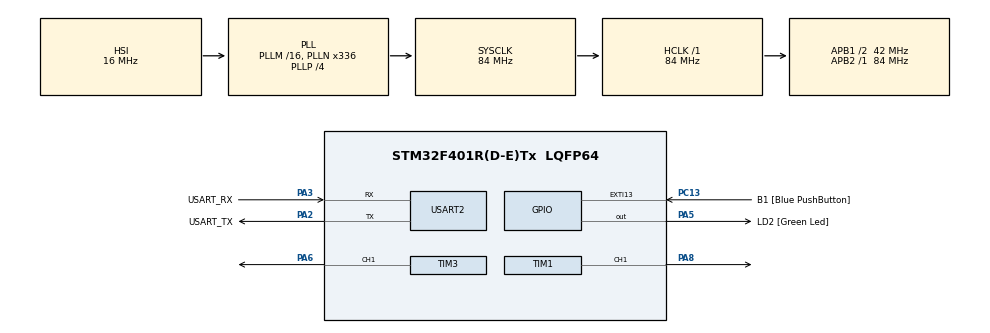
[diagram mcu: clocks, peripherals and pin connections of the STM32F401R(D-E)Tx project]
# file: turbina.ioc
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Mcu.Family=STM32F4
Mcu.Name=STM32F401R(D-E)Tx
Mcu.Package=LQFP64
NVIC.PriorityGroup=NVIC_PRIORITYGROUP_0
NVIC.TIM3_IRQn=true\:0\:0\:false\:false\:true\:true\:true\:true
PA13.GPIO_Label=TMS
PA13.Mode=Serial_Wire
PA13.Signal=SYS_JTMS-SWDIO
PA14.GPIO_Label=TCK
PA14.Mode=Serial_Wire
PA14.Signal=SYS_JTCK-SWCLK
PA2.GPIO_Label=USART_TX
PA2.GPIO_Mode=GPIO_MODE_AF_PP
PA2.GPIO_PuPd=GPIO_NOPULL
PA2.GPIO_Speed=GPIO_SPEED_FREQ_LOW
PA2.Mode=Asynchronous
PA2.Signal=USART2_TX
PA3.GPIO_Label=USART_RX
PA3.GPIO_Mode=GPIO_MODE_AF_PP
PA3.GPIO_PuPd=GPIO_NOPULL
PA3.GPIO_Speed=GPIO_SPEED_FREQ_LOW
PA3.Mode=Asynchronous
PA3.Signal=USART2_RX
PA5.GPIO_Label=LD2 [Green Led]
PA5.GPIO_Mode=GPIO_MODE_OUTPUT_PP
PA5.GPIO_PuPd=GPIO_NOPULL
PA5.GPIO_Speed=GPIO_SPEED_FREQ_LOW
PA5.Signal=GPIO_Output
PA6.Signal=S_TIM3_CH1
PA8.Signal=S_TIM1_CH1
PB3.GPIO_Label=SWO
PB3.Signal=SYS_JTDO-SWO
PC13-ANTI_TAMP.GPIO_Label=B1 [Blue PushButton]
PC13-ANTI_TAMP.GPIO_ModeDefaultEXTI=GPIO_MODE_IT_FALLING
PC13-ANTI_TAMP.GPIO_PuPd=GPIO_NOPULL
PC13-ANTI_TAMP.Signal=GPXTI13
PC14-OSC32_IN.Mode=LSE-External-Oscillator
PC14-OSC32_IN.Signal=RCC_OSC32_IN
PC15-OSC32_OUT.Mode=LSE-External-Oscillator
PC15-OSC32_OUT.Signal=RCC_OSC32_OUT
PH0\ -\ OSC_IN.Mode=HSE-External-Clock-Source
PH0\ -\ OSC_IN.Signal=RCC_OSC_IN
PH1\ -\ OSC_OUT.Mode=HSE-External-Clock-Source
PH1\ -\ OSC_OUT.Signal=RCC_OSC_OUT
ProjectManager.HeapSize=0x200
ProjectManager.StackSize=0x400
ProjectManager.TargetToolchain=STM32CubeIDE
RCC.48MHZClocksFreq_Value=48000000
RCC.AHBFreq_Value=84000000
RCC.APB1CLKDivider=RCC_HCLK_DIV2
RCC.APB1Freq_Value=42000000
RCC.APB1TimFreq_Value=84000000
RCC.APB2Freq_Value=84000000
RCC.APB2TimFreq_Value=84000000
RCC.CortexFreq_Value=84000000
RCC.HCLKFreq_Value=84000000
RCC.HSE_VALUE=8000000
RCC.HSI_VALUE=16000000
RCC.PLLN=336
RCC.PLLP=RCC_PLLP_DIV4
RCC.PLLQ=7
RCC.SYSCLKFreq_VALUE=84000000
RCC.SYSCLKSource=RCC_SYSCLKSOURCE_PLLCLK
RCC.VCOOutputFreq_Value=336000000
SH.S_TIM1_CH1.0=TIM1_CH1,PWM Generation1 CH1
SH.S_TIM3_CH1.0=TIM3_CH1,Output Compare1 CH1
TIM1.Channel-PWM\ Generation1\ CH1=TIM_CHANNEL_1
TIM1.Period=1000-1
TIM1.Prescaler=4-1
TIM3.Channel-Output\ Compare1\ CH1=TIM_CHANNEL_1
TIM3.Period=26259-1
TIM3.Prescaler=64-1
USART2.VirtualMode=VM_ASYNC
VP_TIM1_VS_ClockSourceINT.Mode=Internal
VP_TIM3_VS_ClockSourceINT.Mode=Internal
board=NUCLEO-F401RE

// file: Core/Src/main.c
/* USER CODE BEGIN Header */
/**
  ******************************************************************************
  * @file           : main.c
  * @brief          : Main program body
  ******************************************************************************
  * @attention
  *
  * Copyright (c) 2023 STMicroelectronics.
  * All rights reserved.
  *
  * This software is licensed under terms that can be found in the LICENSE file
  * in the root directory of this software component.
  * If no LICENSE file comes with this software, it is provided AS-IS.
  *
  ******************************************************************************
  */
/* USER CODE END Header */
#include "main.h"

TIM_HandleTypeDef htim1;
TIM_HandleTypeDef htim3;

UART_HandleTypeDef huart2;

void SystemClock_Config(void);
static void MX_GPIO_Init(void);
static void MX_USART2_UART_Init(void);
static void MX_TIM1_Init(void);
static void MX_TIM3_Init(void);

/* USER CODE BEGIN 0 */
motor_str motorA;

//void HAL_TIM_PWM_PulseFinishedCallback(TIM_HandleTypeDef *htim){
//	HAL_TIM_PWM_Stop_DMA(htim, TIM_CHANNEL_1);
//}

//void HAL_TIM_PeriodElapsedCallback(TIM_HandleTypeDef *htim) {
//	if (htim == &htim10){
//		__HAL_TIM_SET_COMPARE(&htim10, TIM_CHANNEL_1, )
//	}
//}

/* USER CODE END 0 */

int main(void)
{

  /* MCU Configuration--------------------------------------------------------*/

  /* Reset of all peripherals, Initializes the Flash interface and the Systick. */
  HAL_Init();

  /* Configure the system clock */
  SystemClock_Config();

  /* Initialize all configured peripherals */
  MX_GPIO_Init();
  MX_USART2_UART_Init();
  MX_TIM1_Init();
  MX_TIM3_Init();
  /* USER CODE BEGIN 2 */
  HAL_TIM_PWM_Start(&htim1, TIM_CHANNEL_1);
  HAL_TIM_Base_Start_IT(&htim3);

  motor_str_init(&motorA, &htim3);
  pid_init(&(motorA.pid_controller), MOTOR_A_Kp, MOTOR_A_Ki, MOTOR_A_Kd, MOTOR_A_ANTI_WINDUP);

    int i = 0;
    uint32_t time_tick = HAL_GetTick();
    uint32_t max_time = 5000;

  /* USER CODE END 2 */

  /* Infinite loop */
  while (1)
  {

    /* USER CODE BEGIN 3 */
	  if((HAL_GetTick() - time_tick) > max_time)
	  	  {
	  		  time_tick = HAL_GetTick();

	  		  motor_set_speed(&motorA, speed_table[i++]);

	  		  if(i >= 4)
	  			  i = 0;
	  	  }
//	  HAL_Delay(5000);
//	  __HAL_TIM_SET_COMPARE(&htim1, TIM_CHANNEL_1, (uint16_t) 0);
//	  HAL_Delay(2000);
//	  __HAL_TIM_SET_COMPARE(&htim1, TIM_CHANNEL_1, (uint16_t) 50);
  }
  /* USER CODE END 3 */
}

void SystemClock_Config(void)
{
  RCC_OscInitTypeDef RCC_OscInitStruct = {0};
  RCC_ClkInitTypeDef RCC_ClkInitStruct = {0};

  /** Configure the main internal regulator output voltage
  */
  __HAL_RCC_PWR_CLK_ENABLE();
  __HAL_PWR_VOLTAGESCALING_CONFIG(PWR_REGULATOR_VOLTAGE_SCALE2);

  /** Initializes the RCC Oscillators according to the specified parameters
  * in the RCC_OscInitTypeDef structure.
  */
  RCC_OscInitStruct.OscillatorType = RCC_OSCILLATORTYPE_HSI;
  RCC_OscInitStruct.HSIState = RCC_HSI_ON;
  RCC_OscInitStruct.HSICalibrationValue = RCC_HSICALIBRATION_DEFAULT;
  RCC_OscInitStruct.PLL.PLLState = RCC_PLL_ON;
  RCC_OscInitStruct.PLL.PLLSource = RCC_PLLSOURCE_HSI;
  RCC_OscInitStruct.PLL.PLLM = 16;
  RCC_OscInitStruct.PLL.PLLN = 336;
  RCC_OscInitStruct.PLL.PLLP = RCC_PLLP_DIV4;
  RCC_OscInitStruct.PLL.PLLQ = 7;
  if (HAL_RCC_OscConfig(&RCC_OscInitStruct) != HAL_OK)
  {
    Error_Handler();
  }

  /** Initializes the CPU, AHB and APB buses clocks
  */
  RCC_ClkInitStruct.ClockType = RCC_CLOCKTYPE_HCLK|RCC_CLOCKTYPE_SYSCLK
                              |RCC_CLOCKTYPE_PCLK1|RCC_CLOCKTYPE_PCLK2;
  RCC_ClkInitStruct.SYSCLKSource = RCC_SYSCLKSOURCE_PLLCLK;
  RCC_ClkInitStruct.AHBCLKDivider = RCC_SYSCLK_DIV1;
  RCC_ClkInitStruct.APB1CLKDivider = RCC_HCLK_DIV2;
  RCC_ClkInitStruct.APB2CLKDivider = RCC_HCLK_DIV1;

  if (HAL_RCC_ClockConfig(&RCC_ClkInitStruct, FLASH_LATENCY_2) != HAL_OK)
  {
    Error_Handler();
  }
}

static void MX_TIM1_Init(void)
{

  TIM_ClockConfigTypeDef sClockSourceConfig = {0};
  TIM_MasterConfigTypeDef sMasterConfig = {0};
  TIM_OC_InitTypeDef sConfigOC = {0};
  TIM_BreakDeadTimeConfigTypeDef sBreakDeadTimeConfig = {0};

  htim1.Instance = TIM1;
  htim1.Init.Prescaler = 4-1;
  htim1.Init.CounterMode = TIM_COUNTERMODE_UP;
  htim1.Init.Period = 1000-1;
  htim1.Init.ClockDivision = TIM_CLOCKDIVISION_DIV1;
  htim1.Init.RepetitionCounter = 0;
  htim1.Init.AutoReloadPreload = TIM_AUTORELOAD_PRELOAD_DISABLE;
  if (HAL_TIM_Base_Init(&htim1) != HAL_OK)
  {
    Error_Handler();
  }
  sClockSourceConfig.ClockSource = TIM_CLOCKSOURCE_INTERNAL;
  if (HAL_TIM_ConfigClockSource(&htim1, &sClockSourceConfig) != HAL_OK)
  {
    Error_Handler();
  }
  if (HAL_TIM_PWM_Init(&htim1) != HAL_OK)
  {
    Error_Handler();
  }
  sMasterConfig.MasterOutputTrigger = TIM_TRGO_RESET;
  sMasterConfig.MasterSlaveMode = TIM_MASTERSLAVEMODE_DISABLE;
  if (HAL_TIMEx_MasterConfigSynchronization(&htim1, &sMasterConfig) != HAL_OK)
  {
    Error_Handler();
  }
  sConfigOC.OCMode = TIM_OCMODE_PWM1;
  sConfigOC.Pulse = 0;
  sConfigOC.OCPolarity = TIM_OCPOLARITY_HIGH;
  sConfigOC.OCNPolarity = TIM_OCNPOLARITY_HIGH;
  sConfigOC.OCFastMode = TIM_OCFAST_DISABLE;
  sConfigOC.OCIdleState = TIM_OCIDLESTATE_RESET;
  sConfigOC.OCNIdleState = TIM_OCNIDLESTATE_RESET;
  if (HAL_TIM_PWM_ConfigChannel(&htim1, &sConfigOC, TIM_CHANNEL_1) != HAL_OK)
  {
    Error_Handler();
  }
  sBreakDeadTimeConfig.OffStateRunMode = TIM_OSSR_DISABLE;
  sBreakDeadTimeConfig.OffStateIDLEMode = TIM_OSSI_DISABLE;
  sBreakDeadTimeConfig.LockLevel = TIM_LOCKLEVEL_OFF;
  sBreakDeadTimeConfig.DeadTime = 0;
  sBreakDeadTimeConfig.BreakState = TIM_BREAK_DISABLE;
  sBreakDeadTimeConfig.BreakPolarity = TIM_BREAKPOLARITY_HIGH;
  sBreakDeadTimeConfig.AutomaticOutput = TIM_AUTOMATICOUTPUT_DISABLE;
  if (HAL_TIMEx_ConfigBreakDeadTime(&htim1, &sBreakDeadTimeConfig) != HAL_OK)
  {
    Error_Handler();
  }
  HAL_TIM_MspPostInit(&htim1);

}

static void MX_TIM3_Init(void)
{

  TIM_ClockConfigTypeDef sClockSourceConfig = {0};
  TIM_MasterConfigTypeDef sMasterConfig = {0};
  TIM_OC_InitTypeDef sConfigOC = {0};

  htim3.Instance = TIM3;
  htim3.Init.Prescaler = 64-1;
  htim3.Init.CounterMode = TIM_COUNTERMODE_UP;
  htim3.Init.Period = 26259-1;
  htim3.Init.ClockDivision = TIM_CLOCKDIVISION_DIV1;
  htim3.Init.AutoReloadPreload = TIM_AUTORELOAD_PRELOAD_DISABLE;
  if (HAL_TIM_Base_Init(&htim3) != HAL_OK)
  {
    Error_Handler();
  }
  sClockSourceConfig.ClockSource = TIM_CLOCKSOURCE_INTERNAL;
  if (HAL_TIM_ConfigClockSource(&htim3, &sClockSourceConfig) != HAL_OK)
  {
    Error_Handler();
  }
  if (HAL_TIM_OC_Init(&htim3) != HAL_OK)
  {
    Error_Handler();
  }
  sMasterConfig.MasterOutputTrigger = TIM_TRGO_RESET;
  sMasterConfig.MasterSlaveMode = TIM_MASTERSLAVEMODE_DISABLE;
  if (HAL_TIMEx_MasterConfigSynchronization(&htim3, &sMasterConfig) != HAL_OK)
  {
    Error_Handler();
  }
  sConfigOC.OCMode = TIM_OCMODE_TIMING;
  sConfigOC.Pulse = 0;
  sConfigOC.OCPolarity = TIM_OCPOLARITY_HIGH;
  sConfigOC.OCFastMode = TIM_OCFAST_DISABLE;
  if (HAL_TIM_OC_ConfigChannel(&htim3, &sConfigOC, TIM_CHANNEL_1) != HAL_OK)
  {
    Error_Handler();
  }
  HAL_TIM_MspPostInit(&htim3);

}

static void MX_USART2_UART_Init(void)
{

  huart2.Instance = USART2;
  huart2.Init.BaudRate = 115200;
  huart2.Init.WordLength = UART_WORDLENGTH_8B;
  huart2.Init.StopBits = UART_STOPBITS_1;
  huart2.Init.Parity = UART_PARITY_NONE;
  huart2.Init.Mode = UART_MODE_TX_RX;
  huart2.Init.HwFlowCtl = UART_HWCONTROL_NONE;
  huart2.Init.OverSampling = UART_OVERSAMPLING_16;
  if (HAL_UART_Init(&huart2) != HAL_OK)
  {
    Error_Handler();
  }

}

static void MX_GPIO_Init(void)
{
  GPIO_InitTypeDef GPIO_InitStruct = {0};

  /* GPIO Ports Clock Enable */
  __HAL_RCC_GPIOC_CLK_ENABLE();
  __HAL_RCC_GPIOH_CLK_ENABLE();
  __HAL_RCC_GPIOA_CLK_ENABLE();
  __HAL_RCC_GPIOB_CLK_ENABLE();

  /*Configure GPIO pin Output Level */
  HAL_GPIO_WritePin(LD2_GPIO_Port, LD2_Pin, GPIO_PIN_RESET);

  /*Configure GPIO pin : B1_Pin */
  GPIO_InitStruct.Pin = B1_Pin;
  GPIO_InitStruct.Mode = GPIO_MODE_IT_FALLING;
  GPIO_InitStruct.Pull = GPIO_NOPULL;
  HAL_GPIO_Init(B1_GPIO_Port, &GPIO_InitStruct);

  /*Configure GPIO pin : LD2_Pin */
  GPIO_InitStruct.Pin = LD2_Pin;
  GPIO_InitStruct.Mode = GPIO_MODE_OUTPUT_PP;
  GPIO_InitStruct.Pull = GPIO_NOPULL;
  GPIO_InitStruct.Speed = GPIO_SPEED_FREQ_LOW;
  HAL_GPIO_Init(LD2_GPIO_Port, &GPIO_InitStruct);

}

/* USER CODE BEGIN 4 */
void HAL_TIM_PeriodElapsedCallback(TIM_HandleTypeDef *htim)
{
	if(htim == &htim3)
	{
		//motor_update_count(&motorA);
		motor_calculate_speed(&motorA);
		//__HAL_TIM_SET_COMPARE(&htim1, TIM_CHANNEL_1, (uint16_t)motor_calculate_speed(&motorA));
	}
}
/* USER CODE END 4 */

void Error_Handler(void)
{
  __disable_irq();
  while (1)
  {
  }
}
